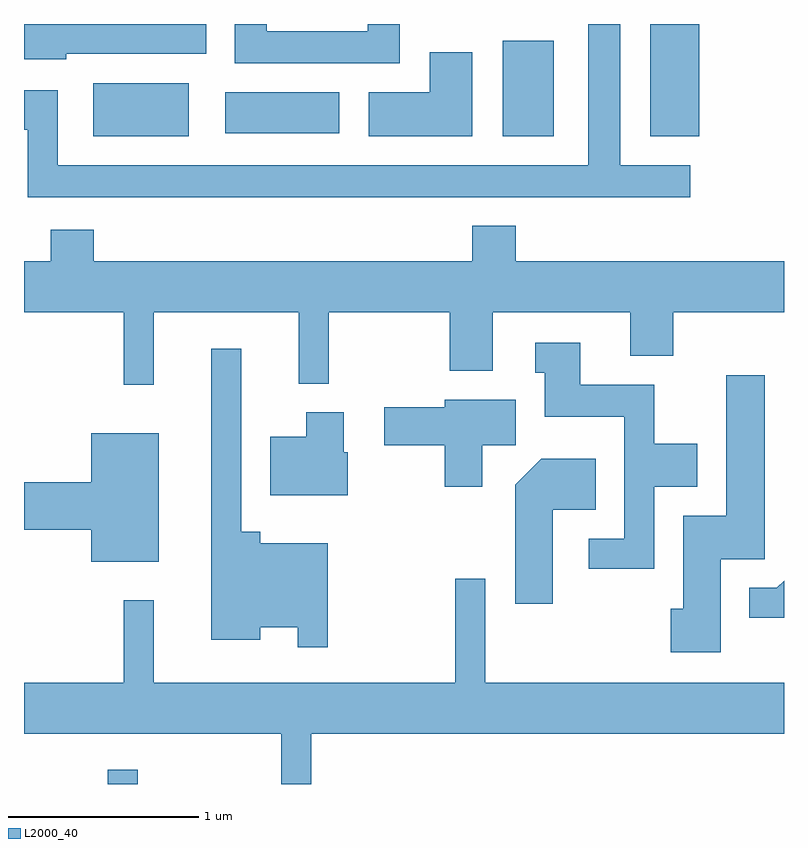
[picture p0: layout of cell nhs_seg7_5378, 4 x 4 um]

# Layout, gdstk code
import gdstk
lib = gdstk.Library(unit=1e-6, precision=1e-09)
def R(c, l, rs):  # rectangles x0, y0, x1, y1
    for r in rs: c.add(gdstk.rectangle(r[:2], r[2:], *l))
def P(c, l, *ps):  # polygons
    for p in ps: c.add(gdstk.Polygon(p, *l))
L2000_40 = (2000, 40)

nhs_seg7_5378 = lib.new_cell('nhs_seg7_5378')
R(nhs_seg7_5378, L2000_40, [(350.051,1736.252,350.209,1736.328), (349.976,1739.661,350.479,1739.939), (352.131,1739.661,352.399,1740.164), (352.906,1739.661,353.164,1740.252), (350.671,1739.676,351.269,1739.894)])
P(nhs_seg7_5378, L2000_40, [(351.589,1740.252),(351.421,1740.252),(351.421,1740.214),(350.889,1740.214),(350.889,1740.252),(350.721,1740.252),(350.721,1740.046),(351.589,1740.046)],
  [(353.118,1739.509),(352.749,1739.509),(352.749,1740.252),(352.581,1740.252),(352.581,1739.509),(349.789,1739.509),(349.789,1739.904),(349.611,1739.904),(349.611,1739.696),(349.631,1739.696),(349.631,1739.341),(353.118,1739.341)],
  [(349.834,1740.096),(350.569,1740.096),(350.569,1740.252),(349.611,1740.252),(349.611,1740.066),(349.834,1740.066)],
  [(351.969,1740.104),(351.746,1740.104),(351.746,1739.894),(351.426,1739.894),(351.426,1739.661),(351.969,1739.661)],
  [(350.294,1738.736),(351.056,1738.736),(351.056,1738.358),(351.214,1738.358),(351.214,1738.736),(351.851,1738.736),(351.851,1738.426),(352.079,1738.426),(352.079,1738.736),(352.801,1738.736),(352.801,1738.506),(353.029,1738.506),(353.029,1738.736),(353.611,1738.736),(353.611,1739.004),(352.199,1739.004),(352.199,1739.189),(351.971,1739.189),(351.971,1739.004),(349.979,1739.004),(349.979,1739.169),(349.751,1739.169),(349.751,1739.004),(349.611,1739.004),(349.611,1738.736),(350.136,1738.736),(350.136,1738.353),(350.294,1738.353)],
  [(352.929,1737.816),(353.154,1737.816),(353.154,1738.044),(352.929,1738.044),(352.929,1738.354),(352.539,1738.354),(352.539,1738.574),(352.303,1738.574),(352.303,1738.416),(352.351,1738.416),(352.351,1738.186),(352.771,1738.186),(352.771,1737.544),(352.583,1737.544),(352.583,1737.386),(352.929,1737.386)],
  [(351.209,1737.519),(350.854,1737.519),(350.854,1737.579),(350.754,1737.579),(350.754,1738.543),(350.596,1738.543),(350.596,1737.011),(350.854,1737.011),(350.854,1737.076),(351.051,1737.076),(351.051,1736.973),(351.209,1736.973)],
  [(353.279,1737.436),(353.509,1737.436),(353.509,1738.404),(353.306,1738.404),(353.306,1737.664),(353.081,1737.664),(353.081,1737.174),(353.016,1737.174),(353.016,1736.946),(353.279,1736.946)],
  [(352.024,1738.036),(352.199,1738.036),(352.199,1738.274),(351.826,1738.274),(351.826,1738.234),(351.506,1738.234),(351.506,1738.036),(351.826,1738.036),(351.826,1737.816),(352.024,1737.816)],
  [(351.314,1737.999),(351.294,1737.999),(351.294,1738.209),(351.096,1738.209),(351.096,1738.079),(350.906,1738.079),(350.906,1737.771),(351.314,1737.771)],
  [(350.319,1738.099),(349.966,1738.099),(349.966,1737.839),(349.611,1737.839),(349.611,1737.591),(349.966,1737.591),(349.966,1737.421),(350.319,1737.421)],
  [(352.394,1737.696),(352.619,1737.696),(352.619,1737.964),(352.334,1737.964),(352.196,1737.827),(352.196,1737.201),(352.394,1737.201)],
  [(351.124,1736.516),(353.611,1736.516),(353.611,1736.784),(352.039,1736.784),(352.039,1737.333),(351.881,1737.333),(351.881,1736.784),(350.294,1736.784),(350.294,1737.218),(350.136,1737.218),(350.136,1736.784),(349.611,1736.784),(349.611,1736.516),(350.966,1736.516),(350.966,1736.252),(351.124,1736.252)],
  [(353.611,1737.321),(353.574,1737.284),(353.428,1737.284),(353.428,1737.126),(353.611,1737.126)])

lib.write_gds('nhs_seg7_5378.gds')
